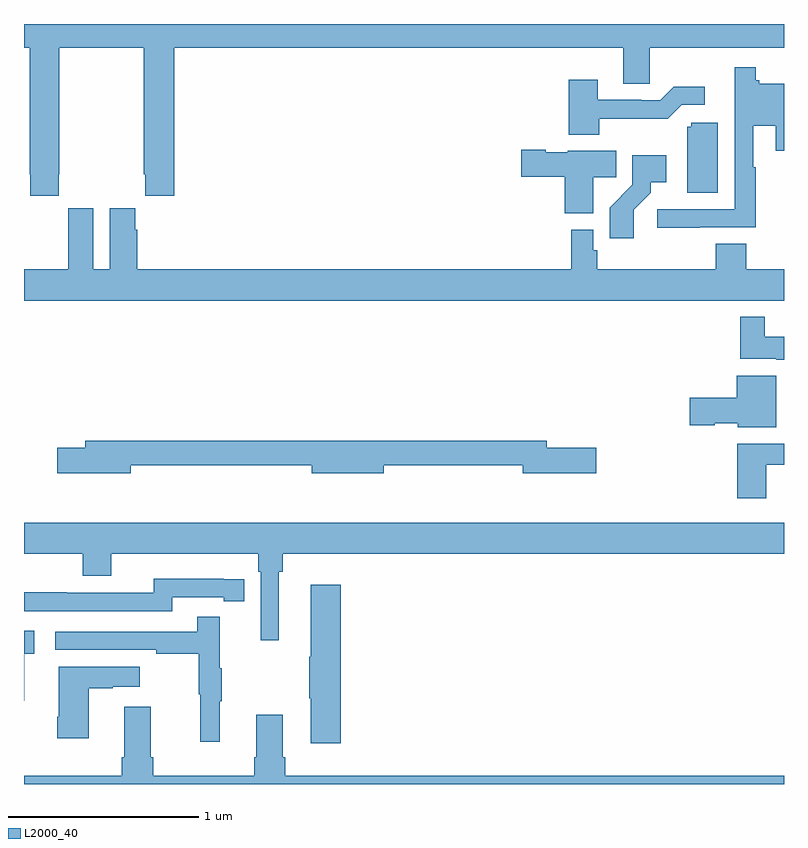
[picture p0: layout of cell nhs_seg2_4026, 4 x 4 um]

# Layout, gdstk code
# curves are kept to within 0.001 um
import gdstk
lib = gdstk.Library(unit=1e-6, precision=1e-09)
def P(c, l, *ps):  # polygons
    for p in ps: c.add(gdstk.Polygon(p, *l))
L2000_40 = (2000, 40)

nhs_seg2_4026 = lib.new_cell('nhs_seg2_4026')
P(nhs_seg2_4026, L2000_40, [(327.183,607.009),(327.186,607.009),(327.186,607.676),(327.631,607.676),(327.631,607.009),(327.637,607.009),(327.637,606.897),(327.791,606.897),(327.791,607.676),(330.155,607.676),(330.155,607.486),(330.294,607.486),(330.294,607.676),(331,607.676),(331,607.8),(327,607.8),(327,607.676),(327.031,607.676),(327.031,607.009),(327.033,607.009),(327.033,606.897),(327.183,606.897)],
  [(330.557,606.729),(330.85,606.729),(330.85,607.046),(330.837,607.046),(330.837,607.265),(330.956,607.265),(330.956,607.134),(331,607.134),(331,607.486),(330.87,607.486),(330.87,607.504),(330.85,607.504),(330.85,607.573),(330.741,607.573),(330.741,606.825),(330.333,606.825),(330.333,606.727),(330.557,606.727)],
  [(330.027,607.302),(330.389,607.301),(330.462,607.374),(330.583,607.374),(330.583,607.471),(330.421,607.471),(330.348,607.398),(330.248,607.398),(330.248,607.401),(330.019,607.401),(330.019,607.507),(329.867,607.507),(329.867,607.217),(330.027,607.217)],
  [(330.652,607.281),(330.513,607.281),(330.513,607.26),(330.491,607.26),(330.491,606.912),(330.652,606.912)],
  [(329.995,606.994),(330.116,606.994),(330.116,607.132),(329.862,607.132),(329.862,607.126),(329.745,607.126),(329.745,607.139),(329.616,607.139),(329.616,606.997),(329.846,606.997),(329.846,606.803),(329.995,606.803)],
  [(330.208,606.823),(330.298,606.913),(330.298,606.968),(330.379,606.968),(330.379,607.108),(330.201,607.108),(330.201,606.953),(330.082,606.834),(330.082,606.672),(330.208,606.672)],
  [(331,606.508),(330.801,606.508),(330.801,606.644),(330.641,606.644),(330.641,606.508),(330.017,606.508),(330.017,606.609),(329.997,606.609),(329.997,606.718),(329.881,606.718),(329.881,606.508),(327.596,606.508),(327.596,606.716),(327.586,606.716),(327.586,606.829),(327.452,606.829),(327.452,606.508),(327.364,606.508),(327.364,606.829),(327.234,606.829),(327.234,606.716),(327.233,606.716),(327.233,606.508),(327,606.508),(327,606.344),(331,606.344)],
  [(331,606.154),(330.898,606.154),(330.898,606.259),(330.769,606.259),(330.769,606.038),(330.96,606.038),(330.96,606.032),(331,606.032)],
  [(330.958,605.948),(330.752,605.948),(330.752,605.834),(330.504,605.834),(330.504,605.687),(330.636,605.687),(330.636,605.699),(330.756,605.699),(330.756,605.678),(330.958,605.678)],
  [(327.562,605.478),(328.514,605.478),(328.514,605.435),(328.894,605.435),(328.894,605.478),(329.624,605.478),(329.624,605.435),(330.013,605.435),(330.013,605.57),(329.752,605.57),(329.752,605.606),(327.323,605.606),(327.323,605.57),(327.174,605.57),(327.174,605.435),(327.562,605.435)],
  [(330.907,605.481),(331,605.481),(331,605.59),(330.755,605.59),(330.755,605.304),(330.907,605.304)],
  [(328.342,604.916),(328.361,604.916),(328.361,605.012),(331,605.012),(331,605.176),(327,605.176),(327,605.012),(327.308,605.012),(327.308,604.895),(327.46,604.895),(327.46,605.012),(328.232,605.012),(328.232,604.916),(328.245,604.916),(328.245,604.557),(328.342,604.557)],
  [(327.78,604.782),(328.052,604.782),(328.052,604.762),(328.16,604.762),(328.16,604.878),(328.052,604.878),(328.052,604.879),(327.684,604.879),(327.684,604.806),(327.224,604.806),(327.224,604.808),(327,604.808),(327,604.71),(327.78,604.71)],
  [(328.667,604.849),(328.508,604.849),(328.508,604.469),(328.501,604.469),(328.501,604.252),(328.508,604.252),(328.508,604.014),(328.667,604.014)],
  [(328.031,604.235),(328.042,604.235),(328.042,604.409),(328.031,604.409),(328.031,604.681),(327.913,604.681),(327.913,604.602),(327.165,604.602),(327.165,604.506),(327.697,604.506),(327.697,604.486),(327.921,604.486),(327.921,604.272),(327.928,604.272),(327.928,604.023),(328.031,604.023)],
  [(327.002,604.485),(327.055,604.485),(327.055,604.606),(327,604.606),(327,604.239),(327.002,604.239)],
  [(327.34,604.303),(327.467,604.303),(327.467,604.313),(327.61,604.313),(327.61,604.417),(327.182,604.417),(327.182,604.153),(327.175,604.153),(327.175,604.041),(327.34,604.041)],
  [(331,603.844),(328.376,603.844),(328.376,603.94),(328.363,603.94),(328.363,604.165),(328.223,604.165),(328.223,603.94),(328.211,603.94),(328.211,603.844),(327.68,603.844),(327.68,603.94),(327.667,603.94),(327.667,604.207),(327.527,604.207),(327.527,603.94),(327.515,603.94),(327.515,603.844),(327,603.844),(327,603.8),(331,603.8)])

lib.write_gds('nhs_seg2_4026.gds')
